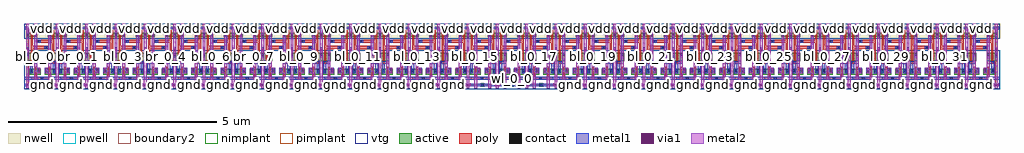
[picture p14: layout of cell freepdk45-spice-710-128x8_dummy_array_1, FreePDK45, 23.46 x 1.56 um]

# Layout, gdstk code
import gdstk
lib = gdstk.Library(unit=1e-6, precision=5e-10)
def R(c, l, rs):  # rectangles x0, y0, x1, y1
    for r in rs: c.add(gdstk.rectangle(r[:2], r[2:], *l))
def A(c, l, x, y, w, h, nx, ny, dx, dy):  # array of equal rectangles
    R(c, l, [(x+i*dx, y+j*dy, x+i*dx+w, y+j*dy+h) for i in range(nx) for j in range(ny)])
active = (1, 0)
pwell = (2, 0)
nwell = (3, 0)
nimplant = (4, 0)
pimplant = (5, 0)
vtg = (6, 0)
poly = (9, 0)
contact = (10, 0)
metal1 = (11, 0)
via1 = (12, 0)
metal2 = (13, 0)
boundary2 = (239, 0)

dummy_cell_1rw = lib.new_cell('dummy_cell_1rw')
R(dummy_cell_1rw, active, [(0.3025,-0.045,0.3925,0.045), (0.3025,-0.045,0.3925,0.045), (0.045,0.2475,0.305,0.3825), (0.045,0.2475,0.12,0.3825), (0.045,0.2475,0.12,0.3825), (0.23,0.2475,0.305,0.3825), (0.23,0.2475,0.305,0.3825), (0.4,0.2475,0.66,0.3825), (0.4,0.2475,0.475,0.3825), (0.4,0.2475,0.475,0.3825), (0.585,0.2475,0.66,0.3825), (0.585,0.2475,0.66,0.3825), (0.045,0.3075,0.12,0.3825), (0.23,0.3075,0.305,0.3825), (0.4,0.3075,0.475,0.3825), (0.585,0.3075,0.66,0.3825), (-0.04,0.5675,0.04,0.7725), (-0.035,0.5675,0.225,0.7725), (-0.035,0.5675,0.04,0.7725), (0.15,0.5675,0.225,0.7725), (0.15,0.5675,0.225,0.7725), (0.48,0.5675,0.74,0.7725), (0.48,0.5675,0.555,0.7725), (0.48,0.5675,0.555,0.7725), (0.665,0.5675,0.74,0.7725), (0.665,0.5675,0.745,0.7725), (-0.035,0.6975,0.04,0.7725), (0.15,0.6975,0.225,0.7725), (0.48,0.6975,0.555,0.7725), (0.665,0.6975,0.74,0.7725), (-0.04,1.1625,0.04,1.2525), (-0.035,1.1625,0.04,1.2375), (-0.035,1.1625,0.225,1.2525), (-0.035,1.1625,0.04,1.2525), (0.15,1.1625,0.225,1.2375), (0.15,1.1625,0.225,1.2525), (0.15,1.1625,0.225,1.2525), (0.48,1.1625,0.555,1.2375), (0.48,1.1625,0.74,1.2525), (0.48,1.1625,0.555,1.2525), (0.48,1.1625,0.555,1.2525), (0.665,1.1625,0.74,1.2375), (0.665,1.1625,0.74,1.2525), (0.665,1.1625,0.745,1.2525), (0.3025,1.32,0.3925,1.41), (0.3025,1.32,0.3925,1.41)])
R(dummy_cell_1rw, pwell, [(-0.095,-0.1,0.8,0.8275), (0.2475,-0.1,0.4475,0.1), (0.2475,-0.08,0.4475,0.12), (-0.01,0.1925,0.36,0.4375), (0.345,0.1925,0.715,0.4375), (-0.09,0.5125,0.28,0.8275), (0.425,0.5125,0.795,0.8275)])
R(dummy_cell_1rw, nwell, [(-0.095,1.1075,0.8,1.465), (-0.09,1.1075,0.28,1.3075), (0.425,1.1075,0.795,1.3075), (0.2475,1.265,0.4475,1.465), (0.2475,1.265,0.4475,1.465)])
R(dummy_cell_1rw, nimplant, [(0.045,0.2475,0.305,0.3825), (0.4,0.2475,0.66,0.3825), (-0.035,0.5675,0.225,0.7725), (0.48,0.5675,0.74,0.7725), (0.3025,1.32,0.3925,1.41), (0.3025,1.32,0.3925,1.41)])
R(dummy_cell_1rw, pimplant, [(0.3025,-0.045,0.3925,0.045), (-0.035,1.1625,0.225,1.2525), (0.48,1.1625,0.74,1.2525)])
R(dummy_cell_1rw, vtg, [(-0.09,-0.1,0.795,0.8275), (-0.01,0.1925,0.36,0.4375), (0.345,0.1925,0.715,0.4375), (-0.09,0.5125,0.28,0.8275), (0.425,0.5125,0.795,0.8275), (-0.09,1.1075,0.28,1.3075), (-0.09,1.1075,0.795,1.465), (0.425,1.1075,0.795,1.3075)])
R(dummy_cell_1rw, poly, [(0.07,0.1225,0.635,0.1975), (0.2975,0.1225,0.3725,0.1975), (0.15,0.1925,0.2,0.2475), (0.15,0.1925,0.2,0.4375), (0.505,0.1925,0.555,0.2475), (0.505,0.1925,0.555,0.4375), (0.15,0.3825,0.2,0.4375), (0.505,0.3825,0.555,0.4375), (0.07,0.5125,0.12,0.5675), (0.07,0.5125,0.12,0.8275), (0.585,0.5125,0.635,0.5675), (0.585,0.5125,0.635,0.8275), (0.07,0.7725,0.12,0.8275), (0.585,0.7725,0.635,0.8275), (0.07,0.8275,0.12,1.1075), (0.07,0.8275,0.12,1.1075), (0.585,0.8275,0.635,1.1075), (0.585,0.8275,0.635,1.1075), (0.07,0.8625,0.5025,0.9375), (0.4275,0.8625,0.5025,0.9375), (0.4275,0.8625,0.5025,0.9375), (0.2025,1.0125,0.2775,1.0875), (0.2025,1.0125,0.2775,1.0875), (0.2025,1.0125,0.635,1.0875), (0.07,1.1075,0.12,1.1625), (0.07,1.1075,0.12,1.3075), (0.585,1.1075,0.635,1.1625), (0.585,1.1075,0.635,1.3075), (0.07,1.2525,0.12,1.3075), (0.585,1.2525,0.635,1.3075)])
R(dummy_cell_1rw, contact, [(0.315,-0.0325,0.38,0.0325), (0.3025,0.1275,0.3675,0.1925), (0.05,0.3125,0.115,0.3775), (0.235,0.3125,0.3,0.3775), (0.405,0.3125,0.47,0.3775), (0.59,0.3125,0.655,0.3775), (-0.0325,0.7025,0.0325,0.7675), (0.155,0.7025,0.22,0.7675), (0.485,0.7025,0.55,0.7675), (0.6725,0.7025,0.7375,0.7675), (0.4325,0.8675,0.4975,0.9325), (0.4325,0.8675,0.4975,0.9325), (0.2075,1.0175,0.2725,1.0825), (0.2075,1.0175,0.2725,1.0825), (-0.0325,1.1675,0.0325,1.2325), (0.155,1.1675,0.22,1.2325), (0.485,1.1675,0.55,1.2325), (0.6725,1.1675,0.7375,1.2325), (0.315,1.3325,0.38,1.3975)])
R(dummy_cell_1rw, metal1, [(-0.09,-0.0325,0.795,0.0325), (-0.09,-0.0325,0.795,0.0325), (0.285,-0.0325,0.42,0.0325), (0.285,-0.0325,0.42,0.0325), (0.6375,-0.0325,0.7725,0.0325), (0.6375,-0.0325,0.7725,0.0325), (0.6375,-0.0325,0.7725,0.0325), (0.6375,-0.0325,0.7725,0.0325), (-0.09,0.1275,0.795,0.1925), (-0.09,0.1275,0.795,0.1925), (0.2675,0.1275,0.4025,0.1925), (-0.085,0.13,-0.0325,0.1925), (0.62,0.13,0.6725,0.1925), (0.05,0.2775,0.115,0.4125), (0.05,0.2775,0.12,0.5675), (0.2225,0.2775,0.2875,0.4125), (0.235,0.2775,0.3,0.4125), (0.405,0.2775,0.47,0.4125), (0.4175,0.2775,0.4825,0.4125), (0.59,0.2775,0.655,0.4125), (0.59,0.2775,0.66,0.5675), (0.05,0.5025,0.22,0.5675), (0.155,0.5025,0.22,1.2425), (0.485,0.5025,0.66,0.5675), (0.485,0.5025,0.55,1.1325), (-0.035,0.6675,0.035,0.8025), (-0.035,0.6675,0.035,0.8025), (-0.03,0.6675,0.035,0.8025), (0.155,0.6675,0.22,0.8025), (0.485,0.6675,0.55,0.8025), (0.67,0.6675,0.735,0.8025), (0.67,0.6675,0.74,0.8025), (0.67,0.6675,0.74,0.8025), (0.67,0.6675,0.74,0.8025), (0.67,0.6675,0.74,0.8025), (0.67,0.6675,0.74,0.8025), (0.67,0.6675,0.74,0.8025), (-0.0325,0.77,0.0325,0.905), (-0.0325,0.77,0.0325,0.905), (-0.0325,0.77,0.0325,0.905), (-0.0325,0.77,0.0325,0.905), (-0.0325,0.77,0.0325,0.905), (-0.0325,0.77,0.0325,0.905), (0.6725,0.77,0.7375,0.905), (0.6725,0.77,0.7375,0.905), (0.6725,0.77,0.7375,0.905), (0.6725,0.77,0.7375,0.905), (0.6725,0.77,0.7375,0.905), (0.6725,0.77,0.7375,0.905), (0.6725,0.77,0.7375,0.905), (0.6725,0.77,0.7375,0.905), (0.6725,0.77,0.7375,0.905), (0.6725,0.77,0.7375,0.905), (0.6725,0.77,0.7375,0.905), (0.6725,0.77,0.7375,0.905), (0.6725,0.77,0.7375,0.905), (0.6725,0.77,0.7375,0.905), (0.6725,0.77,0.7375,0.905), (0.6725,0.77,0.7375,0.905), (0.6725,0.77,0.7375,0.905), (0.6725,0.77,0.7375,0.905), (0.6725,0.77,0.7375,0.905), (0.6725,0.77,0.7375,0.905), (0.6725,0.77,0.7375,0.905), (0.6725,0.77,0.7375,0.905), (0.6725,0.77,0.7375,0.905), (0.6725,0.77,0.7375,0.905), (0.3975,0.8675,0.5325,0.9325), (0.3975,0.8675,0.5325,0.9325), (0.1725,1.0175,0.3075,1.0825), (0.1725,1.0175,0.3075,1.0825), (-0.035,1.1325,0.035,1.3325), (-0.03,1.1325,0.035,1.2675), (0.155,1.1325,0.22,1.2675), (0.485,1.1325,0.55,1.2675), (0.67,1.1325,0.735,1.2675), (0.67,1.1325,0.74,1.3325), (0.67,1.1325,0.74,1.3325), (-0.09,1.3325,0.795,1.3975), (-0.09,1.3325,0.795,1.3975)])
R(dummy_cell_1rw, via1, [(-0.0325,-0.0325,0.0325,0.0325), (-0.0325,-0.0325,0.0325,0.0325), (0.6725,-0.0325,0.7375,0.0325), (0.6725,-0.0325,0.7375,0.0325), (0.6725,-0.0325,0.7375,0.0325), (0.6725,-0.0325,0.7375,0.0325), (-0.0325,0.805,0.0325,0.87), (-0.0325,0.805,0.0325,0.87), (-0.0325,0.805,0.0325,0.87), (-0.0325,0.805,0.0325,0.87), (-0.0325,0.805,0.0325,0.87), (-0.0325,0.805,0.0325,0.87), (0.6725,0.805,0.7375,0.87), (0.6725,0.805,0.7375,0.87), (0.6725,0.805,0.7375,0.87), (0.6725,0.805,0.7375,0.87), (0.6725,0.805,0.7375,0.87), (0.6725,0.805,0.7375,0.87), (0.6725,0.805,0.7375,0.87), (0.6725,0.805,0.7375,0.87), (0.6725,0.805,0.7375,0.87), (0.6725,0.805,0.7375,0.87), (0.6725,0.805,0.7375,0.87), (0.6725,0.805,0.7375,0.87), (0.6725,0.805,0.7375,0.87), (0.6725,0.805,0.7375,0.87), (0.6725,0.805,0.7375,0.87), (0.6725,0.805,0.7375,0.87), (0.6725,0.805,0.7375,0.87), (0.6725,0.805,0.7375,0.87), (0.6725,0.805,0.7375,0.87), (0.6725,0.805,0.7375,0.87), (0.6725,0.805,0.7375,0.87), (0.6725,0.805,0.7375,0.87), (0.6725,0.805,0.7375,0.87), (0.6725,0.805,0.7375,0.87)])
R(dummy_cell_1rw, metal2, [(-0.035,-0.08,0.035,1.465), (0.15,-0.08,0.22,1.465), (0.15,-0.08,0.22,1.465), (0.485,-0.08,0.555,1.465), (0.485,-0.08,0.555,1.465), (0.67,-0.08,0.74,1.465), (0.6375,-0.035,0.7725,0.035), (0.6375,-0.035,0.7725,0.035), (0.6375,-0.035,0.7725,0.035), (0.6375,-0.035,0.7725,0.035), (0.4925,-0.0325,0.55,0.0275), (-0.03,-0.03,0.03,0.0275), (0.1575,-0.025,0.2125,0.0275), (0.675,-0.025,0.735,0.0325), (0.67,-0.0125,0.74,1.3975), (0.22,0.2775,0.29,0.4125), (0.415,0.2775,0.485,0.4125), (-0.035,0.77,0.035,0.905), (-0.035,0.77,0.035,0.905), (-0.035,0.77,0.035,0.905), (-0.035,0.77,0.035,0.905), (-0.035,0.77,0.035,0.905), (-0.035,0.77,0.035,0.905), (0.67,0.77,0.74,0.905), (0.67,0.77,0.74,0.905), (0.67,0.77,0.74,0.905), (0.67,0.77,0.74,0.905), (0.67,0.77,0.74,0.905), (0.67,0.77,0.74,0.905), (0.67,0.77,0.74,0.905), (0.67,0.77,0.74,0.905), (0.67,0.77,0.74,0.905), (0.67,0.77,0.74,0.905), (0.67,0.77,0.74,0.905), (0.67,0.77,0.74,0.905), (0.67,0.77,0.74,0.905), (0.67,0.77,0.74,0.905), (0.67,0.77,0.74,0.905), (0.67,0.77,0.74,0.905), (0.67,0.77,0.74,0.905), (0.67,0.77,0.74,0.905), (0.67,0.77,0.74,0.905), (0.67,0.77,0.74,0.905), (0.67,0.77,0.74,0.905), (0.67,0.77,0.74,0.905), (0.67,0.77,0.74,0.905), (0.67,0.77,0.74,0.905)])
R(dummy_cell_1rw, boundary2, [(0,0.02,0.705,1.365)])
dummy_cell_1rw.add(gdstk.Label('gnd', (0.345,0), layer=11, texttype=0))
dummy_cell_1rw.add(gdstk.Label('vdd', (0.345,1.365), layer=11, texttype=0))
dummy_cell_1rw.add(gdstk.Label('wl', (-0.05,0.167), layer=11, texttype=0))
dummy_cell_1rw.add(gdstk.Label('br', (0.52,0.003), layer=13, texttype=0))
dummy_cell_1rw.add(gdstk.Label('bl', (0.19,0.003), layer=13, texttype=0))
dummy_cell_1rw.add(gdstk.Label('bl', (0.185,0.6925), layer=13, texttype=0))
dummy_cell_1rw.add(gdstk.Label('br', (0.52,0.6925), layer=13, texttype=0))
dummy_cell_1rw.add(gdstk.Label('wl', (0.3525,0.16), layer=11, texttype=0))
dummy_cell_1rw.add(gdstk.Label('vdd', (0.3525,1.365), layer=11, texttype=0))
dummy_cell_1rw.add(gdstk.Label('gnd', (0.3525,0), layer=11, texttype=0))

freepdk45_spice_710_128x = lib.new_cell('freepdk45-spice-710-128x8_dummy_array_1')
A(freepdk45_spice_710_128x, metal1, -0.09, -0.0325, 0.885, 0.065, 33, 2, 0.705, 1.365)
R(freepdk45_spice_710_128x, metal1, [(0,0.1275,23.265,0.1925)])
R(freepdk45_spice_710_128x, metal2, [(0.15,0,0.22,1.365), (0.485,0,0.555,1.365), (0.855,0,0.925,1.365), (1.19,0,1.26,1.365), (1.56,0,1.63,1.365), (1.895,0,1.965,1.365), (2.265,0,2.335,1.365), (2.6,0,2.67,1.365), (2.97,0,3.04,1.365), (3.305,0,3.375,1.365), (3.675,0,3.745,1.365), (4.01,0,4.08,1.365), (4.38,0,4.45,1.365), (4.715,0,4.785,1.365), (5.085,0,5.155,1.365), (5.42,0,5.49,1.365), (5.79,0,5.86,1.365), (6.125,0,6.195,1.365), (6.495,0,6.565,1.365), (6.83,0,6.9,1.365), (7.2,0,7.27,1.365), (7.535,0,7.605,1.365), (7.905,0,7.975,1.365), (8.24,0,8.31,1.365), (8.61,0,8.68,1.365), (8.945,0,9.015,1.365), (9.315,0,9.385,1.365), (9.65,0,9.72,1.365), (10.02,0,10.09,1.365), (10.355,0,10.425,1.365), (10.725,0,10.795,1.365), (11.06,0,11.13,1.365), (11.43,0,11.5,1.365), (11.765,0,11.835,1.365), (12.135,0,12.205,1.365), (12.47,0,12.54,1.365), (12.84,0,12.91,1.365), (13.175,0,13.245,1.365), (13.545,0,13.615,1.365), (13.88,0,13.95,1.365), (14.25,0,14.32,1.365), (14.585,0,14.655,1.365), (14.955,0,15.025,1.365), (15.29,0,15.36,1.365), (15.66,0,15.73,1.365), (15.995,0,16.065,1.365), (16.365,0,16.435,1.365), (16.7,0,16.77,1.365), (17.07,0,17.14,1.365), (17.405,0,17.475,1.365), (17.775,0,17.845,1.365), (18.11,0,18.18,1.365), (18.48,0,18.55,1.365), (18.815,0,18.885,1.365), (19.185,0,19.255,1.365), (19.52,0,19.59,1.365), (19.89,0,19.96,1.365), (20.225,0,20.295,1.365), (20.595,0,20.665,1.365), (20.93,0,21,1.365), (21.3,0,21.37,1.365), (21.635,0,21.705,1.365), (22.005,0,22.075,1.365), (22.34,0,22.41,1.365), (22.71,0,22.78,1.365), (23.045,0,23.115,1.365)])
R(freepdk45_spice_710_128x, boundary2, [(0,0,23.265,1.365)])
freepdk45_spice_710_128x.add(gdstk.Reference(dummy_cell_1rw, (0,0)))
freepdk45_spice_710_128x.add(gdstk.Reference(dummy_cell_1rw, (0.705,0)))
freepdk45_spice_710_128x.add(gdstk.Reference(dummy_cell_1rw, (1.41,0)))
freepdk45_spice_710_128x.add(gdstk.Reference(dummy_cell_1rw, (2.115,0)))
freepdk45_spice_710_128x.add(gdstk.Reference(dummy_cell_1rw, (2.82,0)))
freepdk45_spice_710_128x.add(gdstk.Reference(dummy_cell_1rw, (3.525,0)))
freepdk45_spice_710_128x.add(gdstk.Reference(dummy_cell_1rw, (4.23,0)))
freepdk45_spice_710_128x.add(gdstk.Reference(dummy_cell_1rw, (4.935,0)))
freepdk45_spice_710_128x.add(gdstk.Reference(dummy_cell_1rw, (5.64,0)))
freepdk45_spice_710_128x.add(gdstk.Reference(dummy_cell_1rw, (6.345,0)))
freepdk45_spice_710_128x.add(gdstk.Reference(dummy_cell_1rw, (7.05,0)))
freepdk45_spice_710_128x.add(gdstk.Reference(dummy_cell_1rw, (7.755,0)))
freepdk45_spice_710_128x.add(gdstk.Reference(dummy_cell_1rw, (8.46,0)))
freepdk45_spice_710_128x.add(gdstk.Reference(dummy_cell_1rw, (9.165,0)))
freepdk45_spice_710_128x.add(gdstk.Reference(dummy_cell_1rw, (9.87,0)))
freepdk45_spice_710_128x.add(gdstk.Reference(dummy_cell_1rw, (10.575,0)))
freepdk45_spice_710_128x.add(gdstk.Reference(dummy_cell_1rw, (11.28,0)))
freepdk45_spice_710_128x.add(gdstk.Reference(dummy_cell_1rw, (11.985,0)))
freepdk45_spice_710_128x.add(gdstk.Reference(dummy_cell_1rw, (12.69,0)))
freepdk45_spice_710_128x.add(gdstk.Reference(dummy_cell_1rw, (13.395,0)))
freepdk45_spice_710_128x.add(gdstk.Reference(dummy_cell_1rw, (14.1,0)))
freepdk45_spice_710_128x.add(gdstk.Reference(dummy_cell_1rw, (14.805,0)))
freepdk45_spice_710_128x.add(gdstk.Reference(dummy_cell_1rw, (15.51,0)))
freepdk45_spice_710_128x.add(gdstk.Reference(dummy_cell_1rw, (16.215,0)))
freepdk45_spice_710_128x.add(gdstk.Reference(dummy_cell_1rw, (16.92,0)))
freepdk45_spice_710_128x.add(gdstk.Reference(dummy_cell_1rw, (17.625,0)))
freepdk45_spice_710_128x.add(gdstk.Reference(dummy_cell_1rw, (18.33,0)))
freepdk45_spice_710_128x.add(gdstk.Reference(dummy_cell_1rw, (19.035,0)))
freepdk45_spice_710_128x.add(gdstk.Reference(dummy_cell_1rw, (19.74,0)))
freepdk45_spice_710_128x.add(gdstk.Reference(dummy_cell_1rw, (20.445,0)))
freepdk45_spice_710_128x.add(gdstk.Reference(dummy_cell_1rw, (21.15,0)))
freepdk45_spice_710_128x.add(gdstk.Reference(dummy_cell_1rw, (21.855,0)))
freepdk45_spice_710_128x.add(gdstk.Reference(dummy_cell_1rw, (22.56,0)))
freepdk45_spice_710_128x.add(gdstk.Label('bl_0_0', (0.185,0.6825), layer=13, texttype=0))
freepdk45_spice_710_128x.add(gdstk.Label('br_0_0', (0.52,0.6825), layer=13, texttype=0))
freepdk45_spice_710_128x.add(gdstk.Label('bl_0_1', (0.89,0.6825), layer=13, texttype=0))
freepdk45_spice_710_128x.add(gdstk.Label('br_0_1', (1.225,0.6825), layer=13, texttype=0))
freepdk45_spice_710_128x.add(gdstk.Label('bl_0_2', (1.595,0.6825), layer=13, texttype=0))
freepdk45_spice_710_128x.add(gdstk.Label('br_0_2', (1.93,0.6825), layer=13, texttype=0))
freepdk45_spice_710_128x.add(gdstk.Label('bl_0_3', (2.3,0.6825), layer=13, texttype=0))
freepdk45_spice_710_128x.add(gdstk.Label('br_0_3', (2.635,0.6825), layer=13, texttype=0))
freepdk45_spice_710_128x.add(gdstk.Label('bl_0_4', (3.005,0.6825), layer=13, texttype=0))
freepdk45_spice_710_128x.add(gdstk.Label('br_0_4', (3.34,0.6825), layer=13, texttype=0))
freepdk45_spice_710_128x.add(gdstk.Label('bl_0_5', (3.71,0.6825), layer=13, texttype=0))
freepdk45_spice_710_128x.add(gdstk.Label('br_0_5', (4.045,0.6825), layer=13, texttype=0))
freepdk45_spice_710_128x.add(gdstk.Label('bl_0_6', (4.415,0.6825), layer=13, texttype=0))
freepdk45_spice_710_128x.add(gdstk.Label('br_0_6', (4.75,0.6825), layer=13, texttype=0))
freepdk45_spice_710_128x.add(gdstk.Label('bl_0_7', (5.12,0.6825), layer=13, texttype=0))
freepdk45_spice_710_128x.add(gdstk.Label('br_0_7', (5.455,0.6825), layer=13, texttype=0))
freepdk45_spice_710_128x.add(gdstk.Label('bl_0_8', (5.825,0.6825), layer=13, texttype=0))
freepdk45_spice_710_128x.add(gdstk.Label('br_0_8', (6.16,0.6825), layer=13, texttype=0))
freepdk45_spice_710_128x.add(gdstk.Label('bl_0_9', (6.53,0.6825), layer=13, texttype=0))
freepdk45_spice_710_128x.add(gdstk.Label('br_0_9', (6.865,0.6825), layer=13, texttype=0))
freepdk45_spice_710_128x.add(gdstk.Label('bl_0_10', (7.235,0.6825), layer=13, texttype=0))
freepdk45_spice_710_128x.add(gdstk.Label('br_0_10', (7.57,0.6825), layer=13, texttype=0))
freepdk45_spice_710_128x.add(gdstk.Label('bl_0_11', (7.94,0.6825), layer=13, texttype=0))
freepdk45_spice_710_128x.add(gdstk.Label('br_0_11', (8.275,0.6825), layer=13, texttype=0))
freepdk45_spice_710_128x.add(gdstk.Label('bl_0_12', (8.645,0.6825), layer=13, texttype=0))
freepdk45_spice_710_128x.add(gdstk.Label('br_0_12', (8.98,0.6825), layer=13, texttype=0))
freepdk45_spice_710_128x.add(gdstk.Label('bl_0_13', (9.35,0.6825), layer=13, texttype=0))
freepdk45_spice_710_128x.add(gdstk.Label('br_0_13', (9.685,0.6825), layer=13, texttype=0))
freepdk45_spice_710_128x.add(gdstk.Label('bl_0_14', (10.055,0.6825), layer=13, texttype=0))
freepdk45_spice_710_128x.add(gdstk.Label('br_0_14', (10.39,0.6825), layer=13, texttype=0))
freepdk45_spice_710_128x.add(gdstk.Label('bl_0_15', (10.76,0.6825), layer=13, texttype=0))
freepdk45_spice_710_128x.add(gdstk.Label('br_0_15', (11.095,0.6825), layer=13, texttype=0))
freepdk45_spice_710_128x.add(gdstk.Label('bl_0_16', (11.465,0.6825), layer=13, texttype=0))
freepdk45_spice_710_128x.add(gdstk.Label('br_0_16', (11.8,0.6825), layer=13, texttype=0))
freepdk45_spice_710_128x.add(gdstk.Label('bl_0_17', (12.17,0.6825), layer=13, texttype=0))
freepdk45_spice_710_128x.add(gdstk.Label('br_0_17', (12.505,0.6825), layer=13, texttype=0))
freepdk45_spice_710_128x.add(gdstk.Label('bl_0_18', (12.875,0.6825), layer=13, texttype=0))
freepdk45_spice_710_128x.add(gdstk.Label('br_0_18', (13.21,0.6825), layer=13, texttype=0))
freepdk45_spice_710_128x.add(gdstk.Label('bl_0_19', (13.58,0.6825), layer=13, texttype=0))
freepdk45_spice_710_128x.add(gdstk.Label('br_0_19', (13.915,0.6825), layer=13, texttype=0))
freepdk45_spice_710_128x.add(gdstk.Label('bl_0_20', (14.285,0.6825), layer=13, texttype=0))
freepdk45_spice_710_128x.add(gdstk.Label('br_0_20', (14.62,0.6825), layer=13, texttype=0))
freepdk45_spice_710_128x.add(gdstk.Label('bl_0_21', (14.99,0.6825), layer=13, texttype=0))
freepdk45_spice_710_128x.add(gdstk.Label('br_0_21', (15.325,0.6825), layer=13, texttype=0))
freepdk45_spice_710_128x.add(gdstk.Label('bl_0_22', (15.695,0.6825), layer=13, texttype=0))
freepdk45_spice_710_128x.add(gdstk.Label('br_0_22', (16.03,0.6825), layer=13, texttype=0))
freepdk45_spice_710_128x.add(gdstk.Label('bl_0_23', (16.4,0.6825), layer=13, texttype=0))
freepdk45_spice_710_128x.add(gdstk.Label('br_0_23', (16.735,0.6825), layer=13, texttype=0))
freepdk45_spice_710_128x.add(gdstk.Label('bl_0_24', (17.105,0.6825), layer=13, texttype=0))
freepdk45_spice_710_128x.add(gdstk.Label('br_0_24', (17.44,0.6825), layer=13, texttype=0))
freepdk45_spice_710_128x.add(gdstk.Label('bl_0_25', (17.81,0.6825), layer=13, texttype=0))
freepdk45_spice_710_128x.add(gdstk.Label('br_0_25', (18.145,0.6825), layer=13, texttype=0))
freepdk45_spice_710_128x.add(gdstk.Label('bl_0_26', (18.515,0.6825), layer=13, texttype=0))
freepdk45_spice_710_128x.add(gdstk.Label('br_0_26', (18.85,0.6825), layer=13, texttype=0))
freepdk45_spice_710_128x.add(gdstk.Label('bl_0_27', (19.22,0.6825), layer=13, texttype=0))
freepdk45_spice_710_128x.add(gdstk.Label('br_0_27', (19.555,0.6825), layer=13, texttype=0))
freepdk45_spice_710_128x.add(gdstk.Label('bl_0_28', (19.925,0.6825), layer=13, texttype=0))
freepdk45_spice_710_128x.add(gdstk.Label('br_0_28', (20.26,0.6825), layer=13, texttype=0))
freepdk45_spice_710_128x.add(gdstk.Label('bl_0_29', (20.63,0.6825), layer=13, texttype=0))
freepdk45_spice_710_128x.add(gdstk.Label('br_0_29', (20.965,0.6825), layer=13, texttype=0))
freepdk45_spice_710_128x.add(gdstk.Label('bl_0_30', (21.335,0.6825), layer=13, texttype=0))
freepdk45_spice_710_128x.add(gdstk.Label('br_0_30', (21.67,0.6825), layer=13, texttype=0))
freepdk45_spice_710_128x.add(gdstk.Label('bl_0_31', (22.04,0.6825), layer=13, texttype=0))
freepdk45_spice_710_128x.add(gdstk.Label('br_0_31', (22.375,0.6825), layer=13, texttype=0))
freepdk45_spice_710_128x.add(gdstk.Label('bl_0_32', (22.745,0.6825), layer=13, texttype=0))
freepdk45_spice_710_128x.add(gdstk.Label('br_0_32', (23.08,0.6825), layer=13, texttype=0))
freepdk45_spice_710_128x.add(gdstk.Label('wl_0_0', (11.6325,0.16), layer=11, texttype=0))
freepdk45_spice_710_128x.add(gdstk.Label('vdd', (10.2225,1.365), layer=11, texttype=0))
freepdk45_spice_710_128x.add(gdstk.Label('vdd', (9.5175,1.365), layer=11, texttype=0))
freepdk45_spice_710_128x.add(gdstk.Label('vdd', (19.3875,1.365), layer=11, texttype=0))
freepdk45_spice_710_128x.add(gdstk.Label('vdd', (5.2875,1.365), layer=11, texttype=0))
freepdk45_spice_710_128x.add(gdstk.Label('vdd', (6.6975,1.365), layer=11, texttype=0))
freepdk45_spice_710_128x.add(gdstk.Label('vdd', (8.1075,1.365), layer=11, texttype=0))
freepdk45_spice_710_128x.add(gdstk.Label('vdd', (20.7975,1.365), layer=11, texttype=0))
freepdk45_spice_710_128x.add(gdstk.Label('vdd', (13.7475,1.365), layer=11, texttype=0))
freepdk45_spice_710_128x.add(gdstk.Label('vdd', (14.4525,1.365), layer=11, texttype=0))
freepdk45_spice_710_128x.add(gdstk.Label('vdd', (2.4675,1.365), layer=11, texttype=0))
freepdk45_spice_710_128x.add(gdstk.Label('vdd', (13.0425,1.365), layer=11, texttype=0))
freepdk45_spice_710_128x.add(gdstk.Label('vdd', (12.3375,1.365), layer=11, texttype=0))
freepdk45_spice_710_128x.add(gdstk.Label('vdd', (0.3525,1.365), layer=11, texttype=0))
freepdk45_spice_710_128x.add(gdstk.Label('vdd', (10.9275,1.365), layer=11, texttype=0))
freepdk45_spice_710_128x.add(gdstk.Label('vdd', (1.0575,1.365), layer=11, texttype=0))
freepdk45_spice_710_128x.add(gdstk.Label('vdd', (1.7625,1.365), layer=11, texttype=0))
freepdk45_spice_710_128x.add(gdstk.Label('vdd', (20.0925,1.365), layer=11, texttype=0))
freepdk45_spice_710_128x.add(gdstk.Label('vdd', (3.1725,1.365), layer=11, texttype=0))
freepdk45_spice_710_128x.add(gdstk.Label('vdd', (11.6325,1.365), layer=11, texttype=0))
freepdk45_spice_710_128x.add(gdstk.Label('vdd', (7.4025,1.365), layer=11, texttype=0))
freepdk45_spice_710_128x.add(gdstk.Label('vdd', (8.8125,1.365), layer=11, texttype=0))
freepdk45_spice_710_128x.add(gdstk.Label('vdd', (17.9775,1.365), layer=11, texttype=0))
freepdk45_spice_710_128x.add(gdstk.Label('vdd', (5.9925,1.365), layer=11, texttype=0))
freepdk45_spice_710_128x.add(gdstk.Label('vdd', (15.1575,1.365), layer=11, texttype=0))
freepdk45_spice_710_128x.add(gdstk.Label('vdd', (21.5025,1.365), layer=11, texttype=0))
freepdk45_spice_710_128x.add(gdstk.Label('vdd', (22.9125,1.365), layer=11, texttype=0))
freepdk45_spice_710_128x.add(gdstk.Label('vdd', (15.8625,1.365), layer=11, texttype=0))
freepdk45_spice_710_128x.add(gdstk.Label('vdd', (17.2725,1.365), layer=11, texttype=0))
freepdk45_spice_710_128x.add(gdstk.Label('vdd', (3.8775,1.365), layer=11, texttype=0))
freepdk45_spice_710_128x.add(gdstk.Label('vdd', (22.2075,1.365), layer=11, texttype=0))
freepdk45_spice_710_128x.add(gdstk.Label('vdd', (18.6825,1.365), layer=11, texttype=0))
freepdk45_spice_710_128x.add(gdstk.Label('vdd', (16.5675,1.365), layer=11, texttype=0))
freepdk45_spice_710_128x.add(gdstk.Label('vdd', (4.5825,1.365), layer=11, texttype=0))
freepdk45_spice_710_128x.add(gdstk.Label('gnd', (13.7475,0), layer=11, texttype=0))
freepdk45_spice_710_128x.add(gdstk.Label('gnd', (8.8125,0), layer=11, texttype=0))
freepdk45_spice_710_128x.add(gdstk.Label('gnd', (17.9775,0), layer=11, texttype=0))
freepdk45_spice_710_128x.add(gdstk.Label('gnd', (22.9125,0), layer=11, texttype=0))
freepdk45_spice_710_128x.add(gdstk.Label('gnd', (9.5175,0), layer=11, texttype=0))
freepdk45_spice_710_128x.add(gdstk.Label('gnd', (0.3525,0), layer=11, texttype=0))
freepdk45_spice_710_128x.add(gdstk.Label('gnd', (5.2875,0), layer=11, texttype=0))
freepdk45_spice_710_128x.add(gdstk.Label('gnd', (14.4525,0), layer=11, texttype=0))
freepdk45_spice_710_128x.add(gdstk.Label('gnd', (13.0425,0), layer=11, texttype=0))
freepdk45_spice_710_128x.add(gdstk.Label('gnd', (10.9275,0), layer=11, texttype=0))
freepdk45_spice_710_128x.add(gdstk.Label('gnd', (15.1575,0), layer=11, texttype=0))
freepdk45_spice_710_128x.add(gdstk.Label('gnd', (2.4675,0), layer=11, texttype=0))
freepdk45_spice_710_128x.add(gdstk.Label('gnd', (6.6975,0), layer=11, texttype=0))
freepdk45_spice_710_128x.add(gdstk.Label('gnd', (11.6325,0), layer=11, texttype=0))
freepdk45_spice_710_128x.add(gdstk.Label('gnd', (22.2075,0), layer=11, texttype=0))
freepdk45_spice_710_128x.add(gdstk.Label('gnd', (12.3375,0), layer=11, texttype=0))
freepdk45_spice_710_128x.add(gdstk.Label('gnd', (21.5025,0), layer=11, texttype=0))
freepdk45_spice_710_128x.add(gdstk.Label('gnd', (8.1075,0), layer=11, texttype=0))
freepdk45_spice_710_128x.add(gdstk.Label('gnd', (3.8775,0), layer=11, texttype=0))
freepdk45_spice_710_128x.add(gdstk.Label('gnd', (20.0925,0), layer=11, texttype=0))
freepdk45_spice_710_128x.add(gdstk.Label('gnd', (18.6825,0), layer=11, texttype=0))
freepdk45_spice_710_128x.add(gdstk.Label('gnd', (19.3875,0), layer=11, texttype=0))
freepdk45_spice_710_128x.add(gdstk.Label('gnd', (20.7975,0), layer=11, texttype=0))
freepdk45_spice_710_128x.add(gdstk.Label('gnd', (10.2225,0), layer=11, texttype=0))
freepdk45_spice_710_128x.add(gdstk.Label('gnd', (1.0575,0), layer=11, texttype=0))
freepdk45_spice_710_128x.add(gdstk.Label('gnd', (4.5825,0), layer=11, texttype=0))
freepdk45_spice_710_128x.add(gdstk.Label('gnd', (7.4025,0), layer=11, texttype=0))
freepdk45_spice_710_128x.add(gdstk.Label('gnd', (1.7625,0), layer=11, texttype=0))
freepdk45_spice_710_128x.add(gdstk.Label('gnd', (17.2725,0), layer=11, texttype=0))
freepdk45_spice_710_128x.add(gdstk.Label('gnd', (5.9925,0), layer=11, texttype=0))
freepdk45_spice_710_128x.add(gdstk.Label('gnd', (16.5675,0), layer=11, texttype=0))
freepdk45_spice_710_128x.add(gdstk.Label('gnd', (15.8625,0), layer=11, texttype=0))
freepdk45_spice_710_128x.add(gdstk.Label('gnd', (3.1725,0), layer=11, texttype=0))

lib.write_gds('freepdk45-spice-710-128x8_dummy_array_1.gds')
